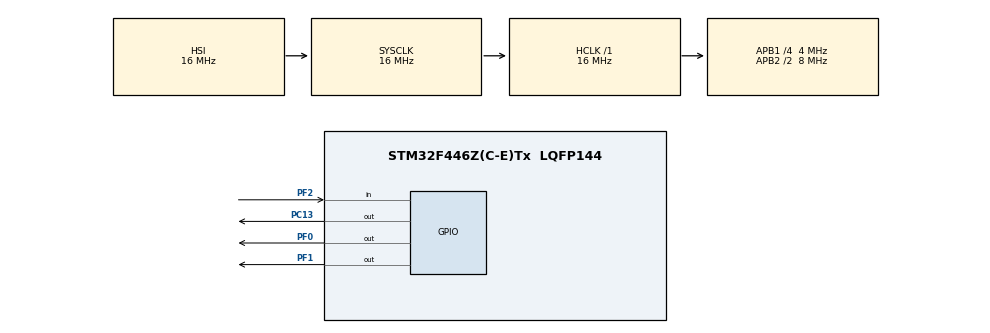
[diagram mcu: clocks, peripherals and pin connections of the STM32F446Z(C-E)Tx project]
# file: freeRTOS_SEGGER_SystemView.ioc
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FREERTOS.Tasks01=defaultTask,24,128,StartDefaultTask,Default,NULL,Dynamic,NULL,NULL;myTask02,16,128,StartTask02,Default,NULL,Dynamic,NULL,NULL;myTask03,16,128,StartTask03,Default,NULL,Dynamic,NULL,NULL
FREERTOS.configUSE_NEWLIB_REENTRANT=1
Mcu.Family=STM32F4
Mcu.Name=STM32F446Z(C-E)Tx
Mcu.Package=LQFP144
NVIC.PriorityGroup=NVIC_PRIORITYGROUP_4
NVIC.RCC_IRQn=true\:5\:0\:false\:false\:true\:true\:true\:false\:true
NVIC.TIM6_DAC_IRQn=true\:15\:0\:false\:false\:true\:false\:false\:true\:true
NVIC.TimeBase=TIM6_DAC_IRQn
NVIC.TimeBaseIP=TIM6
PC13.Signal=GPIO_Output
PF0.Signal=GPIO_Output
PF1.Signal=GPIO_Output
PF2.Signal=GPIO_Input
PH0-OSC_IN.Mode=HSE-External-Oscillator
PH0-OSC_IN.Signal=RCC_OSC_IN
PH1-OSC_OUT.Mode=HSE-External-Oscillator
PH1-OSC_OUT.Signal=RCC_OSC_OUT
ProjectManager.HeapSize=0x200
ProjectManager.StackSize=0x400
ProjectManager.TargetToolchain=STM32CubeIDE
RCC.AHBFreq_Value=16000000
RCC.APB1CLKDivider=RCC_HCLK_DIV4
RCC.APB1Freq_Value=4000000
RCC.APB1TimFreq_Value=8000000
RCC.APB2CLKDivider=RCC_HCLK_DIV2
RCC.APB2Freq_Value=8000000
RCC.APB2TimFreq_Value=16000000
RCC.CortexFreq_Value=16000000
RCC.HCLKFreq_Value=16000000
RCC.HSE_VALUE=25000000
RCC.PLLM=4
RCC.PLLN=168
RCC.SYSCLKFreq_VALUE=16000000
RCC.USBFreq_Value=336000000
RCC.VCOOutputFreq_Value=672000000
VP_FREERTOS_VS_CMSIS_V2.Mode=CMSIS_V2
VP_SYS_VS_tim6.Mode=TIM6
board=custom

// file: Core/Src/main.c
/* USER CODE BEGIN Header */
/**
  ******************************************************************************
  * @file           : main.c
  * @brief          : Main program body
  ******************************************************************************
  * @attention
  *
  * Copyright (c) 2024 STMicroelectronics.
  * All rights reserved.
  *
  * This software is licensed under terms that can be found in the LICENSE file
  * in the root directory of this software component.
  * If no LICENSE file comes with this software, it is provided AS-IS.
  *
  ******************************************************************************
  */
/* USER CODE END Header */
#include "main.h"
#include "cmsis_os.h"

/* USER CODE BEGIN Includes */

#include "FreeRTOS.h"
#include <stdio.h>
#include <stdbool.h>
#include "task.h"
#include "SEGGER_RTT.h"
#include "SEGGER_SYSVIEW_Conf.h"
#include "SEGGER_SYSVIEW.h"

bool acces_key = 1;
bool acces_key1 = 1;
bool acces_key2 = 0;

//TaskHandle_t myTask02_handle = NULL;
//TaskHandle_t defaultTask1Handle = NULL;
//TaskHandle_t myTask03_handle = NULL;

/* USER CODE END Includes */

/* Definitions for defaultTask */
osThreadId_t defaultTaskHandle;
const osThreadAttr_t defaultTask_attributes = {
  .name = "defaultTask",
  .stack_size = 128 * 4,
  .priority = (osPriority_t) osPriorityNormal,
};
/* Definitions for myTask02 */
osThreadId_t myTask02Handle;
const osThreadAttr_t myTask02_attributes = {
  .name = "myTask02",
  .stack_size = 128 * 4,
  .priority = (osPriority_t) osPriorityBelowNormal,
};
/* Definitions for myTask03 */
osThreadId_t myTask03Handle;
const osThreadAttr_t myTask03_attributes = {
  .name = "myTask03",
  .stack_size = 128 * 4,
  .priority = (osPriority_t) osPriorityBelowNormal,
};

void SystemClock_Config(void);
static void MX_GPIO_Init(void);
void StartDefaultTask(void *argument);
void StartTask02(void *argument);
void StartTask03(void *argument);

int main(void)
{
  /* USER CODE BEGIN 1 */
	SEGGER_SYSVIEW_Conf();
	SEGGER_SYSVIEW_Start();
  /* USER CODE END 1 */

	/* MCU Configuration--------------------------------------------------------*/

  /* Reset of all peripherals, Initializes the Flash interface and the Systick. */
  HAL_Init();

  /* USER CODE BEGIN Init */
//  osKernelInitialize();

  /* USER CODE END Init */

  /* Configure the system clock */
  SystemCoreClockUpdate();

  /* Initialize all configured peripherals */
  MX_GPIO_Init();

  /* Init scheduler */
  osKernelInitialize();

  /* Create the thread(s) */
  /* creation of defaultTask */
//  defaultTaskHandle = osThreadNew(StartDefaultTask, NULL, &defaultTask_attributes);
  xTaskCreate(StartDefaultTask,"myTask01",configMINIMAL_STACK_SIZE, NULL, 4, &defaultTask_attributes);
  /* creation of myTask02 */
//  myTask02Handle = osThreadNew(StartTask02, NULL, &myTask02_attributes);
  xTaskCreate(StartTask02, "myTask02", configMINIMAL_STACK_SIZE, NULL, 4, &myTask02_attributes);
  /* creation of myTask03 */
//  myTask03Handle = osThreadNew(StartTask03, NULL, &myTask03_attributes);
  xTaskCreate(StartTask03, "myTask03", configMINIMAL_STACK_SIZE, NULL, 4, &myTask03_attributes);

  /* Start scheduler */
  osKernelStart();
  vTaskStartScheduler();
  /* We should never get here as control is now taken by the scheduler */

  /* Infinite loop */
  while (1)
  {

  }
}

void SystemClock_Config(void)
{
  RCC_OscInitTypeDef RCC_OscInitStruct = {0};
  RCC_ClkInitTypeDef RCC_ClkInitStruct = {0};

  /** Configure the main internal regulator output voltage
  */
  __HAL_RCC_PWR_CLK_ENABLE();
  __HAL_PWR_VOLTAGESCALING_CONFIG(PWR_REGULATOR_VOLTAGE_SCALE3);

  /** Initializes the RCC Oscillators according to the specified parameters
  * in the RCC_OscInitTypeDef structure.
  */
  RCC_OscInitStruct.OscillatorType = RCC_OSCILLATORTYPE_HSI;
  RCC_OscInitStruct.HSIState = RCC_HSI_ON;
  RCC_OscInitStruct.HSICalibrationValue = RCC_HSICALIBRATION_DEFAULT;
  RCC_OscInitStruct.PLL.PLLState = RCC_PLL_NONE;
  if (HAL_RCC_OscConfig(&RCC_OscInitStruct) != HAL_OK)
  {
    Error_Handler();
  }

  /** Initializes the CPU, AHB and APB buses clocks
  */
  RCC_ClkInitStruct.ClockType = RCC_CLOCKTYPE_HCLK|RCC_CLOCKTYPE_SYSCLK
                              |RCC_CLOCKTYPE_PCLK1|RCC_CLOCKTYPE_PCLK2;
  RCC_ClkInitStruct.SYSCLKSource = RCC_SYSCLKSOURCE_HSI;
  RCC_ClkInitStruct.AHBCLKDivider = RCC_SYSCLK_DIV1;
  RCC_ClkInitStruct.APB1CLKDivider = RCC_HCLK_DIV4;
  RCC_ClkInitStruct.APB2CLKDivider = RCC_HCLK_DIV2;

  if (HAL_RCC_ClockConfig(&RCC_ClkInitStruct, FLASH_LATENCY_0) != HAL_OK)
  {
    Error_Handler();
  }
}

static void MX_GPIO_Init(void)
{
  GPIO_InitTypeDef GPIO_InitStruct = {0};

  /* GPIO Ports Clock Enable */
  __HAL_RCC_GPIOC_CLK_ENABLE();
  __HAL_RCC_GPIOF_CLK_ENABLE();
  __HAL_RCC_GPIOH_CLK_ENABLE();

  /*Configure GPIO pin Output Level */
  HAL_GPIO_WritePin(GPIOC, GPIO_PIN_13, GPIO_PIN_RESET);

  /*Configure GPIO pin Output Level */
  HAL_GPIO_WritePin(GPIOF, GPIO_PIN_0|GPIO_PIN_1, GPIO_PIN_RESET);

  /*Configure GPIO pin : PC13 */
  GPIO_InitStruct.Pin = GPIO_PIN_13;
  GPIO_InitStruct.Mode = GPIO_MODE_OUTPUT_PP;
  GPIO_InitStruct.Pull = GPIO_NOPULL;
  GPIO_InitStruct.Speed = GPIO_SPEED_FREQ_LOW;
  HAL_GPIO_Init(GPIOC, &GPIO_InitStruct);

  /*Configure GPIO pins : PF0 PF1 */
  GPIO_InitStruct.Pin = GPIO_PIN_0|GPIO_PIN_1;
  GPIO_InitStruct.Mode = GPIO_MODE_OUTPUT_PP;
  GPIO_InitStruct.Pull = GPIO_NOPULL;
  GPIO_InitStruct.Speed = GPIO_SPEED_FREQ_LOW;
  HAL_GPIO_Init(GPIOF, &GPIO_InitStruct);

  /*Configure GPIO pin : PF2 */
  GPIO_InitStruct.Pin = GPIO_PIN_2;
  GPIO_InitStruct.Mode = GPIO_MODE_INPUT;
  GPIO_InitStruct.Pull = GPIO_NOPULL;
  HAL_GPIO_Init(GPIOF, &GPIO_InitStruct);

}

void StartDefaultTask(void *argument)
{
  /* USER CODE BEGIN 5 */
  /* Infinite loop */
  for(;;)
  {
	  if(acces_key == 1)
	  {
		  acces_key =0;
		  HAL_GPIO_WritePin(GPIOC, GPIO_PIN_13, GPIO_PIN_SET);
		  HAL_Delay(500);
		  HAL_GPIO_WritePin(GPIOC, GPIO_PIN_13, GPIO_PIN_RESET);
		  acces_key =1;
		  taskYIELD();
	  }
	    osDelay(1000);

//	  HAL_GPIO_WritePin(GPIOC, GPIO_PIN_13, GPIO_PIN_SET);
//	  HAL_Delay(500);
//	  HAL_GPIO_WritePin(GPIOC, GPIO_PIN_13, GPIO_PIN_RESET);
//    osDelay(1000);
  }
  /* USER CODE END 5 */
}

void StartTask02(void *argument)
{
  /* USER CODE BEGIN StartTask02 */
  /* Infinite loop */
  for(;;)
  {
	  if(acces_key == 1)
	  {
		  acces_key =0;
		  HAL_GPIO_WritePin(GPIOF, GPIO_PIN_0, GPIO_PIN_SET);
		  HAL_Delay(500);
		  HAL_GPIO_WritePin(GPIOF, GPIO_PIN_0, GPIO_PIN_RESET);
		  acces_key = 1;
		  taskYIELD();
	  }
//	  HAL_GPIO_WritePin(GPIOF, GPIO_PIN_0, GPIO_PIN_SET);
//	  HAL_Delay(500);
//	  HAL_GPIO_WritePin(GPIOF, GPIO_PIN_0, GPIO_PIN_RESET);
    osDelay(1000);
  }
  /* USER CODE END StartTask02 */
}

void StartTask03(void *argument)
{
  /* USER CODE BEGIN StartTask03 */

  /* Infinite loop */
  for(;;)
  {

//		HAL_GPIO_WritePin(GPIOF, GPIO_PIN_1, GPIO_PIN_SET);
//		HAL_Delay(500);
//		HAL_GPIO_WritePin(GPIOF, GPIO_PIN_1, GPIO_PIN_RESET);
//    osDelay(1000);
  }
  /* USER CODE END StartTask03 */
}

void HAL_TIM_PeriodElapsedCallback(TIM_HandleTypeDef *htim)
{
  if (htim->Instance == TIM6) {
    HAL_IncTick();
  }
}

void Error_Handler(void)
{
  __disable_irq();
  while (1)
  {
  }
}
